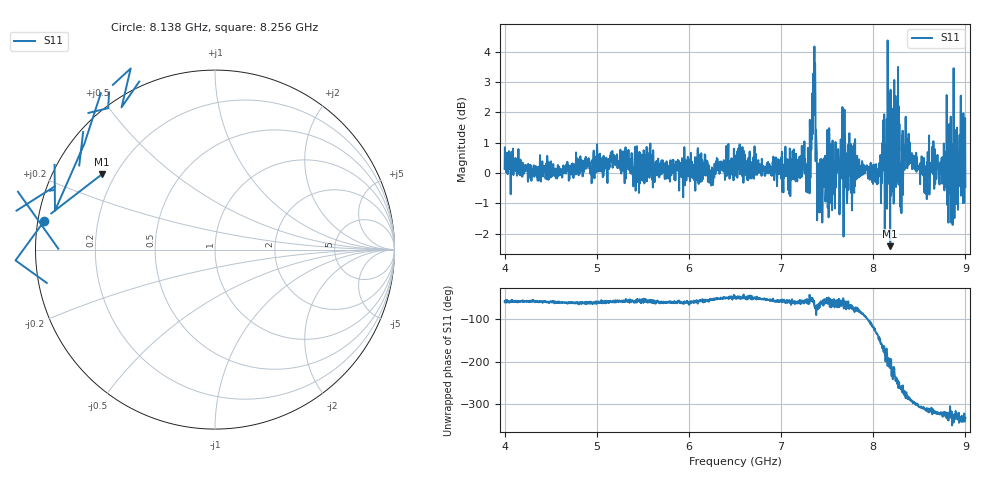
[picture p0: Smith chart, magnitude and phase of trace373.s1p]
! Created with skrf 1.8.0 (http://scikit-rf.org).
# Hz S RI R 50.0
!freq ReS11 ImS11
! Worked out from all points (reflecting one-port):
!   1601 points, 4 GHz to 9 GHz, reference 50 ohm
!   lowest |S11| = -2.4 dB at 8.184 GHz (marker M1), VSWR 7.24, Z = 7.52 + j14.8 ohm
!   phase of S11 starts at -58 deg and turns -274 deg over the sweep
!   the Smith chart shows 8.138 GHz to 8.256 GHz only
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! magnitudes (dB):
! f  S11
! 4 GHz  0.1
! 4.625 GHz  -0.1
! 5.25 GHz  0.2
! 5.875 GHz  0.1
! 6.5 GHz  -0.1
! 7.125 GHz  0.7
! 7.297 GHz  0.5
! 7.356 GHz  2.9
! 7.372 GHz  2.8
! 7.4 GHz  -0.3
! 7.425 GHz  -0.3
! 7.519 GHz  0.1
! 7.572 GHz  0.0
! 7.669 GHz  1.1
! 7.703 GHz  -0.5
! 7.75 GHz  -0.1
! 8.031 GHz  0.3
! 8.134 GHz  -0.7
! 8.184 GHz  -2.4
! 8.253 GHz  0.7
! 8.316 GHz  0.6
! 8.334 GHz  0.7
! 8.375 GHz  0.7
! 8.556 GHz  -0.6
! 8.816 GHz  -1.6
! 8.841 GHz  1.9
! 8.959 GHz  1.6
! 9 GHz  -0.5
